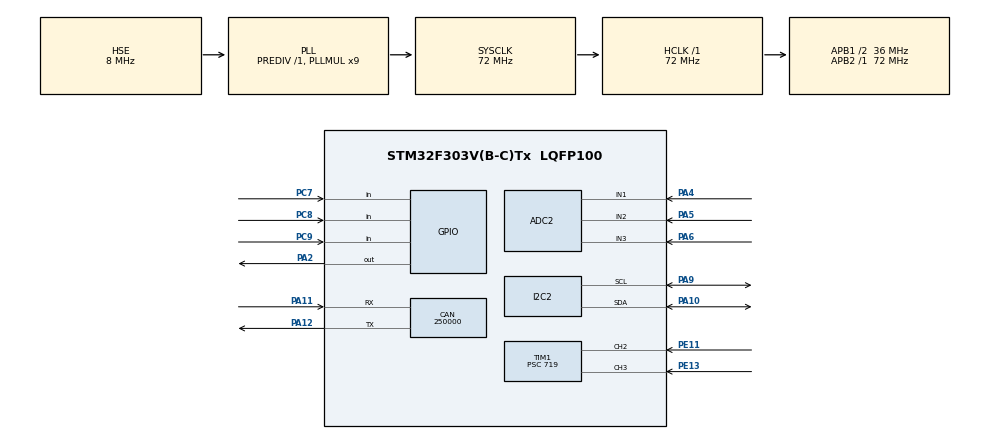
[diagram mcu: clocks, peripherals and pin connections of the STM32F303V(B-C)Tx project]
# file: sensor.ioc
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ADC2.Channel-0\#ChannelRegularConversion=ADC_CHANNEL_1
ADC2.Channel-1\#ChannelRegularConversion=ADC_CHANNEL_2
ADC2.Channel-2\#ChannelRegularConversion=ADC_CHANNEL_3
ADC2.ContinuousConvMode=ENABLE
ADC2.DMAContinuousRequests=ENABLE
ADC2.NbrOfConversion=3
ADC2.NbrOfConversionFlag=1
ADC2.Offset-0\#ChannelRegularConversion=0
ADC2.Offset-1\#ChannelRegularConversion=0
ADC2.Offset-2\#ChannelRegularConversion=0
ADC2.OffsetNumber-0\#ChannelRegularConversion=ADC_OFFSET_NONE
ADC2.OffsetNumber-1\#ChannelRegularConversion=ADC_OFFSET_NONE
ADC2.OffsetNumber-2\#ChannelRegularConversion=ADC_OFFSET_NONE
ADC2.Rank-0\#ChannelRegularConversion=1
ADC2.Rank-1\#ChannelRegularConversion=2
ADC2.Rank-2\#ChannelRegularConversion=3
ADC2.SamplingTime-0\#ChannelRegularConversion=ADC_SAMPLETIME_601CYCLES_5
ADC2.SamplingTime-1\#ChannelRegularConversion=ADC_SAMPLETIME_601CYCLES_5
ADC2.SamplingTime-2\#ChannelRegularConversion=ADC_SAMPLETIME_601CYCLES_5
CAN.BS1=CAN_BS1_4TQ
CAN.BS2=CAN_BS2_4TQ
CAN.CalculateBaudRate=250000
CAN.CalculateTimeBit=4000
CAN.CalculateTimeQuantum=444.44444444444446
Dma.ADC2.0.Direction=DMA_PERIPH_TO_MEMORY
Dma.ADC2.0.Instance=DMA2_Channel1
Dma.ADC2.0.MemDataAlignment=DMA_MDATAALIGN_HALFWORD
Dma.ADC2.0.MemInc=DMA_MINC_ENABLE
Dma.ADC2.0.Mode=DMA_CIRCULAR
Dma.ADC2.0.PeriphDataAlignment=DMA_PDATAALIGN_HALFWORD
Dma.ADC2.0.PeriphInc=DMA_PINC_DISABLE
Dma.ADC2.0.Priority=DMA_PRIORITY_LOW
Dma.Request0=ADC2
I2C2.Timing=0x00201D2B
Mcu.Family=STM32F3
Mcu.Name=STM32F303V(B-C)Tx
Mcu.Package=LQFP100
NVIC.CAN_RX1_IRQn=true\:0\:0\:false\:false\:true\:true\:true\:true
NVIC.DMA2_Channel1_IRQn=true\:0\:0\:false\:false\:true\:false\:true\:true
NVIC.PriorityGroup=NVIC_PRIORITYGROUP_4
NVIC.TIM1_CC_IRQn=true\:0\:0\:false\:false\:true\:true\:true\:true
NVIC.TIM2_IRQn=true\:0\:0\:false\:false\:true\:true\:true\:true
NVIC.TIM3_IRQn=true\:0\:0\:false\:false\:true\:true\:true\:true
NVIC.TIM4_IRQn=true\:0\:0\:false\:false\:true\:true\:true\:true
NVIC.USB_LP_CAN_RX0_IRQn=true\:0\:0\:false\:false\:true\:true\:true\:true
PA10.GPIO_Pu=GPIO_PULLUP
PA10.Mode=I2C
PA10.Signal=I2C2_SDA
PA11.Mode=CAN_Activate
PA11.Signal=CAN_RX
PA12.Mode=CAN_Activate
PA12.Signal=CAN_TX
PA13.Mode=Serial_Wire
PA13.Signal=SYS_JTMS-SWDIO
PA14.Mode=Serial_Wire
PA14.Signal=SYS_JTCK-SWCLK
PA2.GPIO_PuPd=GPIO_NOPULL
PA2.Signal=GPIO_Output
PA4.Mode=IN1-Single-Ended
PA4.Signal=ADC2_IN1
PA5.Mode=IN2-Single-Ended
PA5.Signal=ADC2_IN2
PA6.Mode=IN3-Single-Ended
PA6.Signal=ADC2_IN3
PA9.GPIO_Pu=GPIO_PULLUP
PA9.Mode=I2C
PA9.Signal=I2C2_SCL
PC7.GPIO_PuPd=GPIO_PULLUP
PC7.Signal=GPIO_Input
PC8.GPIO_PuPd=GPIO_PULLUP
PC8.Signal=GPIO_Input
PC9.GPIO_PuPd=GPIO_PULLUP
PC9.Signal=GPIO_Input
PE11.GPIO_PuPd=GPIO_PULLDOWN
PE11.Signal=S_TIM1_CH2
PE13.GPIO_PuPd=GPIO_PULLDOWN
PE13.Signal=S_TIM1_CH3
PF0-OSC_IN.Mode=HSE-External-Oscillator
PF0-OSC_IN.Signal=RCC_OSC_IN
PF1-OSC_OUT.Mode=HSE-External-Oscillator
PF1-OSC_OUT.Signal=RCC_OSC_OUT
ProjectManager.HeapSize=0x200
ProjectManager.StackSize=0x400
ProjectManager.TargetToolchain=STM32CubeIDE
RCC.AHBFreq_Value=72000000
RCC.APB1CLKDivider=RCC_HCLK_DIV2
RCC.APB1Freq_Value=36000000
RCC.APB1TimFreq_Value=72000000
RCC.APB2Freq_Value=72000000
RCC.APB2TimFreq_Value=72000000
RCC.CortexFreq_Value=72000000
RCC.HCLKFreq_Value=72000000
RCC.HSE_VALUE=8000000
RCC.HSI_VALUE=8000000
RCC.LSE_VALUE=32768
RCC.PLLMUL=RCC_PLL_MUL9
RCC.PLLSourceVirtual=RCC_PLLSOURCE_HSE
RCC.SYSCLKFreq_VALUE=72000000
RCC.SYSCLKSourceVirtual=RCC_SYSCLKSOURCE_PLLCLK
RCC.USBFreq_Value=72000000
SH.S_TIM1_CH2.0=TIM1_CH2,Input_Capture2_from_TI2
SH.S_TIM1_CH3.0=TIM1_CH3,Input_Capture3_from_TI3
TIM1.Channel-Input_Capture2_from_TI2=TIM_CHANNEL_2
TIM1.Channel-Input_Capture3_from_TI3=TIM_CHANNEL_3
TIM1.Prescaler=719
TIM2.Period=9999
TIM2.Prescaler=7199
TIM3.Period=999
TIM3.Prescaler=719
TIM4.Period=9999
TIM4.Prescaler=(720*2)-1
VP_TIM2_VS_ClockSourceINT.Mode=Internal
VP_TIM3_VS_ClockSourceINT.Mode=Internal
VP_TIM4_VS_ClockSourceINT.Mode=Internal
board=custom

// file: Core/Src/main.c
/* USER CODE BEGIN Header */
/**
  ******************************************************************************
  * @file           : main.c
  * @brief          : Main program body
  ******************************************************************************
  * @attention
  *
  * Copyright (c) 2025 STMicroelectronics.
  * All rights reserved.
  *
  * This software is licensed under terms that can be found in the LICENSE file
  * in the root directory of this software component.
  * If no LICENSE file comes with this software, it is provided AS-IS.
  *
  ******************************************************************************
  */
/* USER CODE END Header */
#include "main.h"
#include "adc.h"
#include "can.h"
#include "dma.h"
#include "i2c.h"
#include "tim.h"
#include "gpio.h"

/* USER CODE BEGIN Includes */

#include "terms.h"
#include "cant.h"
#include "Contador.h"

/* USER CODE END Includes */

void SystemClock_Config(void);

/* USER CODE BEGIN 0 */

void HAL_TIM_PeriodElapsedCallback(TIM_HandleTypeDef *htim) {
	if(htim == &htim2){  //1s
		canTemp();
		HAL_GPIO_TogglePin(GPIOA, GPIO_PIN_2);
	}
	if(htim == &htim4){ //0.2s
		RPM[0] = 0;
		RPM[1] = 0;
	}
	if(htim ==  &htim3){ //0.01s
		canRPM();
	}
}

/* USER CODE END 0 */

int main(void)
{

  /* MCU Configuration--------------------------------------------------------*/

  /* Reset of all peripherals, Initializes the Flash interface and the Systick. */
  HAL_Init();

  /* Configure the system clock */
  SystemClock_Config();

  /* Initialize all configured peripherals */
  MX_GPIO_Init();
  MX_DMA_Init();
  MX_CAN_Init();
  MX_TIM2_Init();
  MX_I2C2_Init();
  MX_ADC2_Init();
  MX_TIM1_Init();
  MX_TIM4_Init();
  MX_TIM3_Init();
  /* USER CODE BEGIN 2 */

  binCode();
  HAL_CAN_Start(&hcan);

  __HAL_TIM_CLEAR_IT(&htim2, TIM_IT_UPDATE); //garante que ao acordar do uC a interrupção do timer não sera gerada
  HAL_TIM_Base_Start_IT(&htim2);
  HAL_TIM_Base_Start_IT(&htim4);
  HAL_TIM_Base_Start_IT(&htim3);
  HAL_TIM_IC_Start_IT(&htim1, TIM_CHANNEL_2);
  HAL_TIM_IC_Start_IT(&htim1, TIM_CHANNEL_3);
  HAL_ADC_Start_DMA(&hadc2, (uint32_t*)adcRaw, 3);

  /* USER CODE END 2 */

  /* Infinite loop */
  while (1)
  {

    /* USER CODE BEGIN 3 */
	  if(readyFlag){
		  calcularRPM();
	  }
  }
  /* USER CODE END 3 */
}

void SystemClock_Config(void)
{
  RCC_OscInitTypeDef RCC_OscInitStruct = {0};
  RCC_ClkInitTypeDef RCC_ClkInitStruct = {0};
  RCC_PeriphCLKInitTypeDef PeriphClkInit = {0};

  /** Initializes the RCC Oscillators according to the specified parameters
  * in the RCC_OscInitTypeDef structure.
  */
  RCC_OscInitStruct.OscillatorType = RCC_OSCILLATORTYPE_HSI|RCC_OSCILLATORTYPE_HSE;
  RCC_OscInitStruct.HSEState = RCC_HSE_ON;
  RCC_OscInitStruct.HSEPredivValue = RCC_HSE_PREDIV_DIV1;
  RCC_OscInitStruct.HSIState = RCC_HSI_ON;
  RCC_OscInitStruct.HSICalibrationValue = RCC_HSICALIBRATION_DEFAULT;
  RCC_OscInitStruct.PLL.PLLState = RCC_PLL_ON;
  RCC_OscInitStruct.PLL.PLLSource = RCC_PLLSOURCE_HSE;
  RCC_OscInitStruct.PLL.PLLMUL = RCC_PLL_MUL9;
  if (HAL_RCC_OscConfig(&RCC_OscInitStruct) != HAL_OK)
  {
    Error_Handler();
  }

  /** Initializes the CPU, AHB and APB buses clocks
  */
  RCC_ClkInitStruct.ClockType = RCC_CLOCKTYPE_HCLK|RCC_CLOCKTYPE_SYSCLK
                              |RCC_CLOCKTYPE_PCLK1|RCC_CLOCKTYPE_PCLK2;
  RCC_ClkInitStruct.SYSCLKSource = RCC_SYSCLKSOURCE_PLLCLK;
  RCC_ClkInitStruct.AHBCLKDivider = RCC_SYSCLK_DIV1;
  RCC_ClkInitStruct.APB1CLKDivider = RCC_HCLK_DIV2;
  RCC_ClkInitStruct.APB2CLKDivider = RCC_HCLK_DIV1;

  if (HAL_RCC_ClockConfig(&RCC_ClkInitStruct, FLASH_LATENCY_2) != HAL_OK)
  {
    Error_Handler();
  }
  PeriphClkInit.PeriphClockSelection = RCC_PERIPHCLK_I2C2|RCC_PERIPHCLK_TIM1
                              |RCC_PERIPHCLK_ADC12;
  PeriphClkInit.Adc12ClockSelection = RCC_ADC12PLLCLK_DIV1;
  PeriphClkInit.I2c2ClockSelection = RCC_I2C2CLKSOURCE_HSI;
  PeriphClkInit.Tim1ClockSelection = RCC_TIM1CLK_HCLK;
  if (HAL_RCCEx_PeriphCLKConfig(&PeriphClkInit) != HAL_OK)
  {
    Error_Handler();
  }
}

void Error_Handler(void)
{
  __disable_irq();
  while (1)
  {
  }
}
